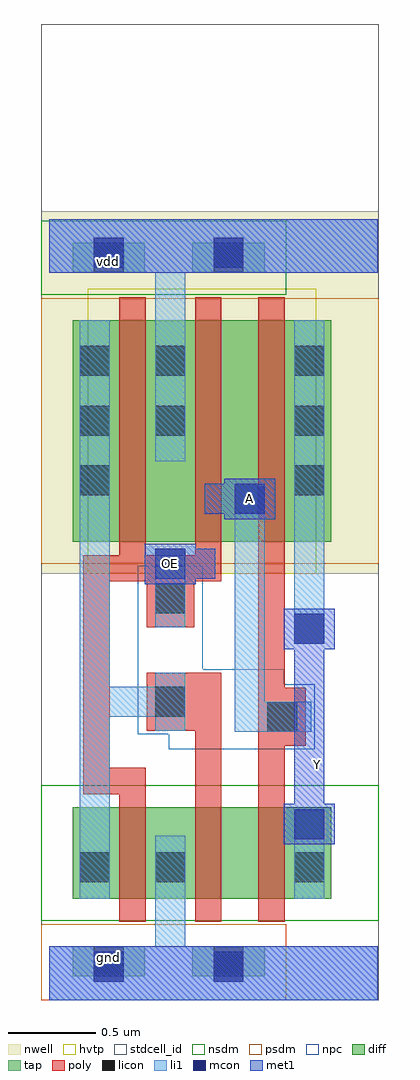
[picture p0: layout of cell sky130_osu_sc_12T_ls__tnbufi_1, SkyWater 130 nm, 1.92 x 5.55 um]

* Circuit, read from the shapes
.subckt sky130_osu_sc_12T_ls__tnbufi_1 A OE Y gnd vdd
XM1 gnd OE n1 gnd sky130_fd_pr__nfet_01v8 w=0.52 l=0.15
XM2 n2 n1 gnd gnd sky130_fd_pr__nfet_01v8 w=0.52 l=0.15
XM3 Y A n2 gnd sky130_fd_pr__nfet_01v8 w=0.52 l=0.15
XM4 vdd OE n1 vdd sky130_fd_pr__pfet_01v8_hvt w=1.26 l=0.15
XM5 n3 OE vdd vdd sky130_fd_pr__pfet_01v8_hvt w=1.26 l=0.15
XM6 Y A n3 vdd sky130_fd_pr__pfet_01v8_hvt w=1.26 l=0.15
.ends

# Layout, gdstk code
import gdstk
lib = gdstk.Library(unit=1e-6, precision=1e-09)
def R(c, l, rs):  # rectangles x0, y0, x1, y1
    for r in rs: c.add(gdstk.rectangle(r[:2], r[2:], *l))
def A(c, l, x, y, w, h, nx, ny, dx, dy):  # array of equal rectangles
    R(c, l, [(x+i*dx, y+j*dy, x+i*dx+w, y+j*dy+h) for i in range(nx) for j in range(ny)])
nwell = (64, 20)
diff = (65, 20)
tap = (65, 44)
poly = (66, 20)
licon = (66, 44)
li1 = (67, 20)
mcon = (67, 44)
met1 = (68, 20)
hvtp = (78, 44)
stdcell_id = (81, 4)
nsdm = (93, 44)
psdm = (94, 20)
npc = (95, 20)

sky130_osu_sc_12t_ls__tn = lib.new_cell('sky130_osu_sc_12T_ls__tnbufi_1')
R(sky130_osu_sc_12t_ls__tn, nwell, [(-0.045,2.425,1.875,4.485)])
R(sky130_osu_sc_12t_ls__tn, diff, [(0.135,0.575,1.605,1.095), (0.135,2.605,1.605,3.865)])
R(sky130_osu_sc_12t_ls__tn, tap, [(0.135,0.135,0.545,0.305), (0.815,0.135,1.225,0.305), (0.135,4.135,0.545,4.305), (0.815,4.135,1.225,4.305)])
R(sky130_osu_sc_12t_ls__tn, poly, [(0.4,0.445,0.55,1.17), (0.83,0.445,0.98,1.53), (1.19,0.445,1.34,1.445), (0.195,1.17,0.55,1.32), (0.195,1.32,0.345,2.38), (1.19,1.445,1.46,1.775), (0.555,1.53,0.98,1.86), (1.19,1.775,1.34,3.995), (0.555,2.12,0.825,2.38), (0.195,2.38,0.98,2.53), (0.4,2.53,0.55,3.995), (0.83,2.53,0.98,3.995)])
A(sky130_osu_sc_12t_ls__tn, licon, 0.175, 2.87, 0.17, 0.17, 1, 3, 0, 0.34)
A(sky130_osu_sc_12t_ls__tn, licon, 1.395, 2.87, 0.17, 0.17, 1, 3, 0, 0.34)
R(sky130_osu_sc_12t_ls__tn, licon, [(0.255,0.135,0.425,0.305), (0.935,0.135,1.105,0.305), (0.175,0.67,0.345,0.84), (0.605,0.67,0.775,0.84), (1.395,0.67,1.565,0.84), (1.24,1.525,1.41,1.695), (0.605,1.61,0.775,1.78), (0.605,2.2,0.775,2.37), (0.605,3.21,0.775,3.38), (0.605,3.55,0.775,3.72), (0.255,4.135,0.425,4.305), (0.935,4.135,1.105,4.305)])
R(sky130_osu_sc_12t_ls__tn, li1, [(0,0,1.87,0.305), (0.605,0.305,0.775,0.935), (0.175,0.575,0.345,1.61), (1.395,0.575,1.565,1.085), (1.055,1.525,1.49,1.695), (0.605,1.53,0.775,1.61), (0.175,1.61,0.775,1.78), (1.055,1.695,1.225,2.935), (0.175,1.78,0.345,3.865), (0.605,1.78,0.775,1.86), (1.395,2.025,1.565,3.865), (0.605,2.12,0.775,2.565), (0.605,3.065,0.775,4.135), (0,4.135,1.87,4.44)])
R(sky130_osu_sc_12t_ls__tn, mcon, [(0.255,0.105,0.425,0.275), (0.935,0.105,1.105,0.275), (1.395,0.915,1.565,1.085), (1.395,2.025,1.565,2.195), (0.605,2.395,0.775,2.565), (1.055,2.765,1.225,2.935), (0.255,4.165,0.425,4.335), (0.935,4.165,1.105,4.335)])
R(sky130_osu_sc_12t_ls__tn, met1, [(0,0,1.87,0.305), (1.335,0.885,1.625,1.115), (1.395,1.115,1.565,1.995), (1.335,1.995,1.625,2.225), (0.545,2.365,0.835,2.395), (0.545,2.395,0.945,2.565), (0.545,2.565,0.835,2.595), (0.995,2.735,1.285,2.765), (0.885,2.765,1.285,2.935), (0.995,2.935,1.285,2.965), (0,4.135,1.87,4.44)])
R(sky130_osu_sc_12t_ls__tn, hvtp, [(0.22,2.425,1.52,4.045)])
R(sky130_osu_sc_12t_ls__tn, stdcell_id, [(-0.045,0,1.875,5.55)])
R(sky130_osu_sc_12t_ls__tn, nsdm, [(-0.045,0.45,1.875,1.22), (-0.045,4.01,1.35,4.43)])
R(sky130_osu_sc_12t_ls__tn, psdm, [(-0.045,0,1.35,0.43), (-0.045,2.48,1.875,3.99)])
R(sky130_osu_sc_12t_ls__tn, npc, [(0.68,1.425,1.51,1.51), (0.505,1.51,1.51,1.795), (0.505,1.795,1.335,1.88), (0.505,1.88,0.875,2.47)])
sky130_osu_sc_12t_ls__tn.add(gdstk.Label('gnd', (0.34,0.24), layer=68, texttype=16))
sky130_osu_sc_12t_ls__tn.add(gdstk.Label('vdd', (0.34,4.2), layer=68, texttype=16))
sky130_osu_sc_12t_ls__tn.add(gdstk.Label('Y', (1.525,1.34), layer=68, texttype=5))
sky130_osu_sc_12t_ls__tn.add(gdstk.Label('A', (1.14,2.85), layer=68, texttype=5))
sky130_osu_sc_12t_ls__tn.add(gdstk.Label('OE', (0.69,2.48), layer=68, texttype=5))

lib.write_gds('sky130_osu_sc_12T_ls__tnbufi_1.gds')
